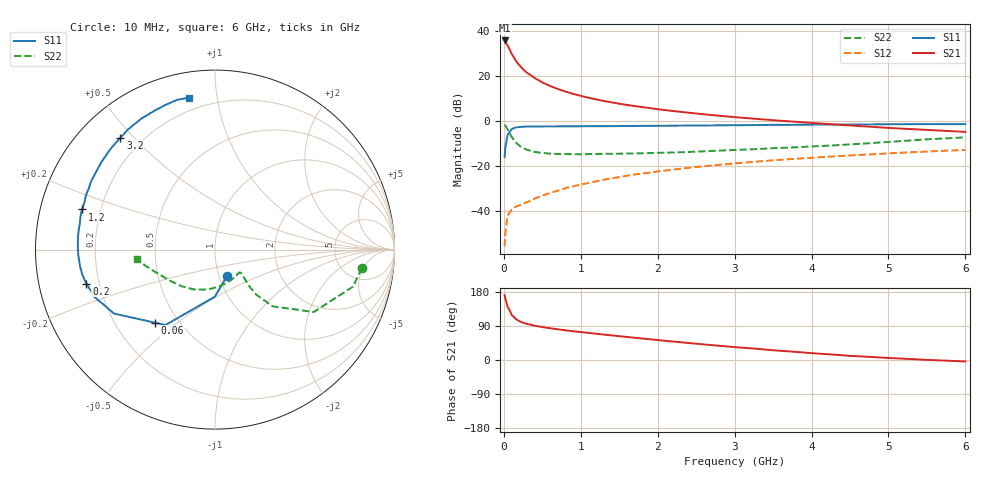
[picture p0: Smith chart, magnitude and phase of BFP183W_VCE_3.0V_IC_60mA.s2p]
! (c) 2017  Infineon Technologies AG, Munich
! Infineon Technologies  Discrete & RF Semiconductors
! BFP183W
! VCE =  3.0 V,  IC =  60 mA
! Common Emitter S-Parameters:  Jan 2017
# GHz  S  MA  R  50
!  f  S11  S21  S12  S22
! GHz  MAG  ANG  MAG  ANG  MAG  ANG  MAG  ANG
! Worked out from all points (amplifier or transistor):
!   77 points, 10 MHz to 6 GHz, reference 50 ohm
!   highest |S21| = 35.7 dB at 10 MHz (marker M1)
!   |S21| within 3 dB of that: start of sweep to 61.08 MHz
!   unconditionally stable (mu >= 1): start of sweep to 15.11 MHz; 313.8 MHz to 5.195 GHz
!   at 130 MHz: K = 0.59, MSG = 33.4 dB, |S12| = -38.5 dB
!   at 2.2 GHz: K = 1.22, MAG = 10.1 dB, |S12| = -21.5 dB
!   at 6 GHz: K = 0.98, MSG = 4.0 dB, |S12| = -12.7 dB
!   S11 on the Smith chart (normalised r, x): 10 MHz: 1.10, -0.33; 60 MHz: 0.37, -0.42; 200 MHz: 0.15, -0.13; 1.2 GHz: 0.13, +0.15; 3.2 GHz: 0.12, +0.46; 6 GHz: 0.13, +0.83
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0.01  0.1599 -64.6  61.3 171.1  0.0017 82.8  0.8238 -7.1
0.02  0.2625 -90.2  58.74 161.4  0.0033 85.9  0.7967 -15.0
0.05  0.5028 -123.3  47.29 139.3  0.008 57.8  0.651 -32.3
0.06  0.5264 -129.3  43.77 136.4  0.0086 55.1  0.6093 -34.1
0.1  0.6655 -147.6  31.38 119.0  0.0109 47.2  0.451 -44.5
0.15  0.7215 -158.6  22.59 109.0  0.0126 43.9  0.345 -47.4
0.2  0.7412 -165.2  17.41 102.6  0.0136 46.9  0.2884 -47.1
0.25  0.7529 -169.6  14.13 98.3  0.0149 47.8  0.2545 -45.8
0.3  0.7575 -172.8  11.86 95.2  0.0159 51.0  0.2322 -44.5
0.4  0.7621 -177.6  8.998 90.4  0.0192 56.1  0.2086 -42.8
0.5  0.7644 179.0  7.212 86.9  0.0224 59.5  0.1973 -42.1
0.7  0.7666 173.8  5.171 81.1  0.0287 65.5  0.1871 -42.8
0.9  0.7668 169.2  4.021 76.0  0.0358 67.0  0.1853 -46.2
1.1  0.7731 165.2  3.308 71.6  0.0427 68.8  0.1865 -49.7
1.2  0.7732 163.2  3.031 69.2  0.0464 68.3  0.1872 -51.9
1.6  0.7811 156.0  2.288 60.8  0.0618 69.0  0.1917 -61.8
2.1  0.7909 147.1  1.757 50.7  0.0806 67.5  0.1999 -76.7
3.1  0.8136 131.7  1.191 32.5  0.1195 61.9  0.2332 -107.2
3.2  0.8161 130.2  1.154 31.0  0.1235 61.3  0.2369 -110.1
4.1  0.838 118.1  0.89 16.7  0.1584 54.8  0.28 -134.9
5.1  0.8538 107.7  0.694 4.4  0.1967 47.1  0.3556 -159.5
6  0.8592 99.8  0.578 -3.9  0.2313 39.7  0.4371 -173.2
